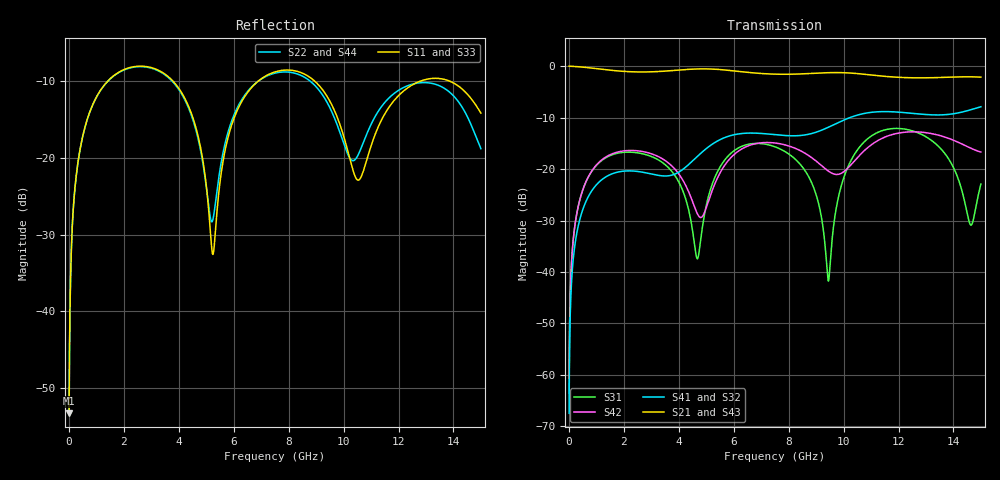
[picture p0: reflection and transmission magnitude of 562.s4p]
! Created with skrf 1.8.0 (http://scikit-rf.org).
# GHz S RI R 50.0
!freq ReS11 ImS11 ReS12 ImS12 ReS13 ImS13
! ReS14 ImS14
! ReS21 ImS21 ReS22 ImS22 ReS23 ImS23
! ReS24 ImS24
! ReS31 ImS31 ReS32 ImS32 ReS33 ImS33
! ReS34 ImS34
! ReS41 ImS41 ReS42 ImS42 ReS43 ImS43
! ReS44 ImS44
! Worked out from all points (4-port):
!   2499 points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, 5 MHz to 15 GHz, reference 50 ohm
!   strongest paths, dB at 5 MHz, 3.476 GHz, 7.19 GHz, 11.1 GHz, 15 GHz:
!     S21: 0.0, -1.0, -1.5, -1.8, -2.2
!     S43: 0.0, -1.0, -1.5, -1.8, -2.2
!     S41: -67.5, -21.3, -13.2, -8.9, -7.9
!     S32: -67.5, -21.4, -13.2, -9.0, -7.9
!     S42: -63.6, -18.3, -14.8, -15.0, -16.7
!     S31: -63.6, -19.0, -15.2, -13.3, -22.9
!   lowest |S11| = -53.3 dB at 5 MHz (marker M1), VSWR 1.00, Z = 50.2 + j0.132 ohm
!   |S11| at or under -10 dB: start of sweep to 1.401 GHz; 3.796 GHz to 6.878 GHz (3.082 GHz wide, 57.7 % of centre); 8.961 GHz to 12.77 GHz (3.805 GHz wide, 35 % of centre) (the widest 3 of 4)
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0.005  0.00172 0.00131  0.9982 -0.00335  8.57e-05 0.000656  -8.35e-05 -0.000416
       0.9982 -0.00335  0.00172 0.00131  -8.34e-05 -0.000416  8.59e-05 0.000656
       8.57e-05 0.000656  -8.34e-05 -0.000416  0.00172 0.00131  0.9982 -0.00335
       -8.35e-05 -0.000416  8.59e-05 0.000656  0.9982 -0.00335  0.00172 0.00131
1.519383  0.2815 0.1758  0.5302 -0.7411  0.1211 0.0616  -0.0887 -0.00335
          0.5302 -0.7411  0.2788 0.1777  -0.0885 -0.00354  0.1295 0.0496
          0.1211 0.0616  -0.0885 -0.00354  0.2816 0.1757  0.5301 -0.7411
          -0.0887 -0.00335  0.1295 0.0496  0.5301 -0.7411  0.2787 0.1778
5.045852  0.0266 -0.0485  -0.9253 -0.1597  0.0146 0.0478  -0.0236 0.1598
          -0.9253 -0.1597  0.0407 -0.0381  -0.0266 0.1594  -0.0285 0.0359
          0.0146 0.0478  -0.0266 0.1594  0.0261 -0.0491  -0.9253 -0.1597
          -0.0236 0.1598  -0.0285 0.0359  -0.9253 -0.1597  0.0416 -0.0386
8.01584  0.3742 -0.0242  -0.0224 0.8328  0.1291 -0.0524  0.2031 -0.0563
         -0.0224 0.8328  0.3629 -0.0204  0.2029 -0.0497  0.1277 -0.108
         0.1291 -0.0524  0.2029 -0.0497  0.376 -0.0255  -0.0217 0.8325
         0.2031 -0.0563  0.1277 -0.108  -0.0217 0.8325  0.3629 -0.0193
9.447687  0.1802 -0.165  0.6188 0.6015  -0.00737 -0.00352  0.1692 -0.1906
          0.6188 0.6015  0.178 -0.1333  0.1763 -0.1839  -0.0658 -0.0692
          -0.00737 -0.00352  0.1763 -0.1839  0.1805 -0.1673  0.6189 0.6007
          0.1692 -0.1906  -0.0658 -0.0692  0.6189 0.6007  0.1808 -0.1332
10.78574  0.0838 0.0323  0.8296 -0.0514  0.0792 0.1698  -0.0482 -0.3448
          0.8296 -0.0514  0.1224 0.0577  -0.0361 -0.3459  0.0142 0.1529
          0.0792 0.1698  -0.0361 -0.3459  0.0841 0.0329  0.8296 -0.0524
          -0.0482 -0.3448  0.0142 0.1529  0.8296 -0.0524  0.1231 0.0535
15  0.155 -0.1208  -0.6177 -0.4773  0.0208 0.0684  -0.2333 0.3284
    -0.6177 -0.4773  0.1108 -0.0316  -0.2517 0.3143  -0.1348 -0.057
    0.0208 0.0684  -0.2517 0.3143  0.1556 -0.1268  -0.6182 -0.475
    -0.2333 0.3284  -0.1348 -0.057  -0.6182 -0.475  0.1216 -0.0329
